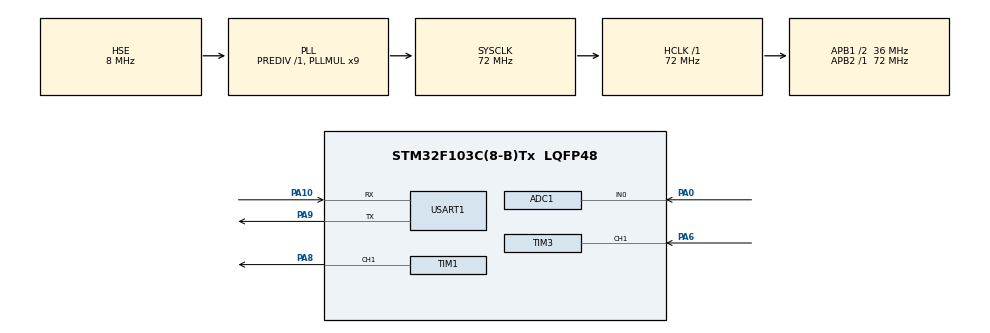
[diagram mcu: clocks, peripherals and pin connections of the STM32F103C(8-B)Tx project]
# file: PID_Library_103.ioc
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ADC1.Channel-0\#ChannelRegularConversion=ADC_CHANNEL_0
ADC1.ContinuousConvMode=ENABLE
ADC1.NbrOfConversionFlag=1
ADC1.Rank-0\#ChannelRegularConversion=1
ADC1.SamplingTime-0\#ChannelRegularConversion=ADC_SAMPLETIME_1CYCLE_5
ADC1.master=1
Dma.ADC1.0.Direction=DMA_PERIPH_TO_MEMORY
Dma.ADC1.0.Instance=DMA1_Channel1
Dma.ADC1.0.MemDataAlignment=DMA_MDATAALIGN_HALFWORD
Dma.ADC1.0.MemInc=DMA_MINC_ENABLE
Dma.ADC1.0.Mode=DMA_CIRCULAR
Dma.ADC1.0.PeriphDataAlignment=DMA_PDATAALIGN_HALFWORD
Dma.ADC1.0.PeriphInc=DMA_PINC_DISABLE
Dma.ADC1.0.Priority=DMA_PRIORITY_LOW
Dma.Request0=ADC1
Dma.Request1=TIM1_CH1
Dma.TIM1_CH1.1.Direction=DMA_MEMORY_TO_PERIPH
Dma.TIM1_CH1.1.Instance=DMA1_Channel2
Dma.TIM1_CH1.1.MemDataAlignment=DMA_MDATAALIGN_HALFWORD
Dma.TIM1_CH1.1.MemInc=DMA_MINC_ENABLE
Dma.TIM1_CH1.1.Mode=DMA_CIRCULAR
Dma.TIM1_CH1.1.PeriphDataAlignment=DMA_PDATAALIGN_HALFWORD
Dma.TIM1_CH1.1.PeriphInc=DMA_PINC_DISABLE
Dma.TIM1_CH1.1.Priority=DMA_PRIORITY_LOW
FREERTOS.Tasks01=defaultTask,0,256,StartDefaultTask,Default,NULL,Static,defaultTaskBuffer,defaultTaskControlBlock;my_PWM_Task,0,256,Start_PWM_Task,Default,NULL,Static,my_PWM_TaskBuffer,my_PWM_TaskControlBlock;my_ADC_Task,0,256,Start_ADC_Task,Default,NULL,Static,my_ADC_TaskBuffer,my_ADC_TaskControlBlock
FREERTOS.configUSE_NEWLIB_REENTRANT=1
Mcu.Family=STM32F1
Mcu.Name=STM32F103C(8-B)Tx
Mcu.Package=LQFP48
NVIC.DMA1_Channel1_IRQn=true\:5\:0\:false\:false\:true\:true\:false\:true\:true
NVIC.DMA1_Channel2_IRQn=true\:5\:0\:false\:false\:true\:true\:false\:true\:true
NVIC.PriorityGroup=NVIC_PRIORITYGROUP_4
NVIC.TIM3_IRQn=true\:5\:0\:false\:false\:true\:true\:true\:true\:true
NVIC.TIM4_IRQn=true\:15\:0\:false\:false\:true\:false\:false\:true\:true
NVIC.TimeBase=TIM4_IRQn
NVIC.TimeBaseIP=TIM4
PA0-WKUP.Signal=ADCx_IN0
PA10.Mode=Asynchronous
PA10.Signal=USART1_RX
PA13.Mode=Serial_Wire
PA13.Signal=SYS_JTMS-SWDIO
PA14.Mode=Serial_Wire
PA14.Signal=SYS_JTCK-SWCLK
PA6.Signal=S_TIM3_CH1
PA8.Signal=S_TIM1_CH1
PA9.Mode=Asynchronous
PA9.Signal=USART1_TX
PD0-OSC_IN.Mode=HSE-External-Oscillator
PD0-OSC_IN.Signal=RCC_OSC_IN
PD1-OSC_OUT.Mode=HSE-External-Oscillator
PD1-OSC_OUT.Signal=RCC_OSC_OUT
ProjectManager.HeapSize=0x200
ProjectManager.StackSize=0x400
ProjectManager.TargetToolchain=STM32CubeIDE
RCC.ADCPresc=RCC_ADCPCLK2_DIV6
RCC.AHBFreq_Value=72000000
RCC.APB1CLKDivider=RCC_HCLK_DIV2
RCC.APB1Freq_Value=36000000
RCC.APB1TimFreq_Value=72000000
RCC.APB2Freq_Value=72000000
RCC.APB2TimFreq_Value=72000000
RCC.HCLKFreq_Value=72000000
RCC.PLLMUL=RCC_PLL_MUL9
RCC.PLLSourceVirtual=RCC_PLLSOURCE_HSE
RCC.SYSCLKFreq_VALUE=72000000
RCC.SYSCLKSource=RCC_SYSCLKSOURCE_PLLCLK
RCC.USBFreq_Value=72000000
SH.ADCx_IN0.0=ADC1_IN0,IN0
SH.S_TIM1_CH1.0=TIM1_CH1,PWM Generation1 CH1
SH.S_TIM3_CH1.0=TIM3_CH1,Input_Capture1_from_TI1
TIM1.Channel-PWM\ Generation1\ CH1=TIM_CHANNEL_1
TIM1.Period=100-1
TIM1.Prescaler=71-1
TIM3.Channel-Input_Capture1_from_TI1=TIM_CHANNEL_1
TIM3.Prescaler=7199
TIM3.TIM_MasterOutputTrigger=TIM_TRGO_UPDATE
USART1.VirtualMode=VM_ASYNC
VP_FREERTOS_VS_CMSIS_V1.Mode=CMSIS_V1
VP_SYS_VS_tim4.Mode=TIM4
VP_TIM1_VS_ClockSourceINT.Mode=Internal
VP_TIM2_VS_ClockSourceITR.Mode=TriggerSource_ITR2
VP_TIM2_VS_ControllerModeClock.Mode=Clock Mode
board=custom

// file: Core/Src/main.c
/* USER CODE BEGIN Header */
/**
  ******************************************************************************
  * @file           : main.c
  * @brief          : Main program body
  ******************************************************************************
  * @attention
  *
  * Copyright (c) 2023 STMicroelectronics.
  * All rights reserved.
  *
  * This software is licensed under terms that can be found in the LICENSE file
  * in the root directory of this software component.
  * If no LICENSE file comes with this software, it is provided AS-IS.
  *
  ******************************************************************************
  */
/* USER CODE END Header */
#include "main.h"
#include "cmsis_os.h"

/* USER CODE BEGIN Includes */
#include <stdio.h>/* для printf */
#include <string.h>
/************** PWM *******************/
 uint16_t pwmData[1];
/************** ADC *******************/
#define ADC_BUF_LED 100 //4096
uint16_t adc_buf[ADC_BUF_LED];

/************** Tahometr *******************/
volatile uint8_t count = 0;
/************** Map *******************/
int16_t value = 0;     // For function "map" from analogRead(0);
int16_t in_max = 4050; // было 4095
int8_t in_min = 0;     // было 0
unsigned char out_max = 100;
int8_t out_min = 0;
/************** PID *******************/
#include "pid.h"
double setpoint = 50.0;// Желаемое количество оборотов в минуту
double input;   // Текущее количество оборотов в минуту
double output;  // Значение выхода PID-контроллера

double kp = 0.0;  // Коэффициент пропорциональности = 1.0
double ki = 4.74575910231458;  // Коэффициент интегральной составляющей = 0.1
double kd = 0.0;  // Коэффициент дифференциальной составляющей = 0.1

PID_TypeDef Cooler_PID;  // Объект PID-контроллера

/************** PID *******************/
int8_t ticks_per_rev = 2; // Количество тактов кулера в один оборот.
float rpm = 0.0;
/* USER CODE END Includes */

ADC_HandleTypeDef hadc1;
DMA_HandleTypeDef hdma_adc1;

TIM_HandleTypeDef htim1;
TIM_HandleTypeDef htim2;
TIM_HandleTypeDef htim3;
DMA_HandleTypeDef hdma_tim1_ch1;

UART_HandleTypeDef huart1;

osThreadId defaultTaskHandle;
uint32_t defaultTaskBuffer[ 256 ];
osStaticThreadDef_t defaultTaskControlBlock;
osThreadId my_PWM_TaskHandle;
uint32_t my_PWM_TaskBuffer[ 256 ];
osStaticThreadDef_t my_PWM_TaskControlBlock;
osThreadId my_ADC_TaskHandle;
uint32_t my_ADC_TaskBuffer[ 256 ];
osStaticThreadDef_t my_ADC_TaskControlBlock;

void SystemClock_Config(void);
static void MX_GPIO_Init(void);
static void MX_DMA_Init(void);
static void MX_ADC1_Init(void);
static void MX_TIM1_Init(void);
static void MX_TIM2_Init(void);
static void MX_TIM3_Init(void);
static void MX_USART1_UART_Init(void);
void StartDefaultTask(void const * argument);
void Start_PWM_Task(void const * argument);
void Start_ADC_Task(void const * argument);

/* USER CODE BEGIN PFP */
int _write(int file, char *ptr, int len) {
	int i;
	HAL_UART_Transmit(&huart1, (uint8_t*) ptr, len, 50);
	for (i = 0; i < len; i++) {
		ITM_SendChar(*ptr++);
	}
	return len;
}
/* USER CODE END PFP */

/* USER CODE BEGIN 0 */
/************** Медианный фильтр *******************/
float median(float newVal)
{
    static float buf[3];
    static int count = 0;
    buf[count] = newVal;
    if (++count > 2)
        count = 0;

    float a = buf[0];
    float b = buf[1];
    float c = buf[2];

    float middle;
    if ((a <= b) && (a <= c))
    {
        middle = (b <= c) ? b : c;
    }
    else
    {
        if ((b <= a) && (b <= c))
        {
            middle = (a <= c) ? a : c;
        }
        else
        {
            middle = (a <= b) ? a : b;
        }
    }
    return middle;
}
/* USER CODE END 0 */

int main(void)
{

  /* MCU Configuration--------------------------------------------------------*/

  /* Reset of all peripherals, Initializes the Flash interface and the Systick. */
  HAL_Init();

  /* Configure the system clock */
  SystemClock_Config();

  /* Initialize all configured peripherals */
  MX_GPIO_Init();
  MX_DMA_Init();
  MX_ADC1_Init();
  MX_TIM1_Init();
  MX_TIM2_Init();
  MX_TIM3_Init();
  MX_USART1_UART_Init();
  /* USER CODE BEGIN 2 */
  /************** Frequencymeter *******************/
   HAL_TIM_IC_Start_IT(&htim3, TIM_CHANNEL_1);
  /* USER CODE END 2 */

  /* Create the thread(s) */
  /* definition and creation of defaultTask */
  osThreadStaticDef(defaultTask, StartDefaultTask, osPriorityNormal, 0, 256, defaultTaskBuffer, &defaultTaskControlBlock);
  defaultTaskHandle = osThreadCreate(osThread(defaultTask), NULL);

  /* definition and creation of my_PWM_Task */
  osThreadStaticDef(my_PWM_Task, Start_PWM_Task, osPriorityNormal, 0, 256, my_PWM_TaskBuffer, &my_PWM_TaskControlBlock);
  my_PWM_TaskHandle = osThreadCreate(osThread(my_PWM_Task), NULL);

  /* definition and creation of my_ADC_Task */
  osThreadStaticDef(my_ADC_Task, Start_ADC_Task, osPriorityNormal, 0, 256, my_ADC_TaskBuffer, &my_ADC_TaskControlBlock);
  my_ADC_TaskHandle = osThreadCreate(osThread(my_ADC_Task), NULL);

  /* Start scheduler */
  osKernelStart();
  /* We should never get here as control is now taken by the scheduler */
  /* Infinite loop */
  while (1)
  {

  }
}

void SystemClock_Config(void)
{
  RCC_OscInitTypeDef RCC_OscInitStruct = {0};
  RCC_ClkInitTypeDef RCC_ClkInitStruct = {0};
  RCC_PeriphCLKInitTypeDef PeriphClkInit = {0};

  /** Initializes the RCC Oscillators according to the specified parameters
  * in the RCC_OscInitTypeDef structure.
  */
  RCC_OscInitStruct.OscillatorType = RCC_OSCILLATORTYPE_HSE;
  RCC_OscInitStruct.HSEState = RCC_HSE_ON;
  RCC_OscInitStruct.HSEPredivValue = RCC_HSE_PREDIV_DIV1;
  RCC_OscInitStruct.HSIState = RCC_HSI_ON;
  RCC_OscInitStruct.PLL.PLLState = RCC_PLL_ON;
  RCC_OscInitStruct.PLL.PLLSource = RCC_PLLSOURCE_HSE;
  RCC_OscInitStruct.PLL.PLLMUL = RCC_PLL_MUL9;
  if (HAL_RCC_OscConfig(&RCC_OscInitStruct) != HAL_OK)
  {
    Error_Handler();
  }

  /** Initializes the CPU, AHB and APB buses clocks
  */
  RCC_ClkInitStruct.ClockType = RCC_CLOCKTYPE_HCLK|RCC_CLOCKTYPE_SYSCLK
                              |RCC_CLOCKTYPE_PCLK1|RCC_CLOCKTYPE_PCLK2;
  RCC_ClkInitStruct.SYSCLKSource = RCC_SYSCLKSOURCE_PLLCLK;
  RCC_ClkInitStruct.AHBCLKDivider = RCC_SYSCLK_DIV1;
  RCC_ClkInitStruct.APB1CLKDivider = RCC_HCLK_DIV2;
  RCC_ClkInitStruct.APB2CLKDivider = RCC_HCLK_DIV1;

  if (HAL_RCC_ClockConfig(&RCC_ClkInitStruct, FLASH_LATENCY_2) != HAL_OK)
  {
    Error_Handler();
  }
  PeriphClkInit.PeriphClockSelection = RCC_PERIPHCLK_ADC;
  PeriphClkInit.AdcClockSelection = RCC_ADCPCLK2_DIV6;
  if (HAL_RCCEx_PeriphCLKConfig(&PeriphClkInit) != HAL_OK)
  {
    Error_Handler();
  }
}

static void MX_ADC1_Init(void)
{

  ADC_ChannelConfTypeDef sConfig = {0};

  /** Common config
  */
  hadc1.Instance = ADC1;
  hadc1.Init.ScanConvMode = ADC_SCAN_DISABLE;
  hadc1.Init.ContinuousConvMode = ENABLE;
  hadc1.Init.DiscontinuousConvMode = DISABLE;
  hadc1.Init.ExternalTrigConv = ADC_SOFTWARE_START;
  hadc1.Init.DataAlign = ADC_DATAALIGN_RIGHT;
  hadc1.Init.NbrOfConversion = 1;
  if (HAL_ADC_Init(&hadc1) != HAL_OK)
  {
    Error_Handler();
  }

  /** Configure Regular Channel
  */
  sConfig.Channel = ADC_CHANNEL_0;
  sConfig.Rank = ADC_REGULAR_RANK_1;
  sConfig.SamplingTime = ADC_SAMPLETIME_1CYCLE_5;
  if (HAL_ADC_ConfigChannel(&hadc1, &sConfig) != HAL_OK)
  {
    Error_Handler();
  }

}

static void MX_TIM1_Init(void)
{

  TIM_ClockConfigTypeDef sClockSourceConfig = {0};
  TIM_MasterConfigTypeDef sMasterConfig = {0};
  TIM_OC_InitTypeDef sConfigOC = {0};
  TIM_BreakDeadTimeConfigTypeDef sBreakDeadTimeConfig = {0};

  htim1.Instance = TIM1;
  htim1.Init.Prescaler = 71-1;
  htim1.Init.CounterMode = TIM_COUNTERMODE_UP;
  htim1.Init.Period = 100-1;
  htim1.Init.ClockDivision = TIM_CLOCKDIVISION_DIV1;
  htim1.Init.RepetitionCounter = 0;
  htim1.Init.AutoReloadPreload = TIM_AUTORELOAD_PRELOAD_DISABLE;
  if (HAL_TIM_Base_Init(&htim1) != HAL_OK)
  {
    Error_Handler();
  }
  sClockSourceConfig.ClockSource = TIM_CLOCKSOURCE_INTERNAL;
  if (HAL_TIM_ConfigClockSource(&htim1, &sClockSourceConfig) != HAL_OK)
  {
    Error_Handler();
  }
  if (HAL_TIM_PWM_Init(&htim1) != HAL_OK)
  {
    Error_Handler();
  }
  sMasterConfig.MasterOutputTrigger = TIM_TRGO_RESET;
  sMasterConfig.MasterSlaveMode = TIM_MASTERSLAVEMODE_DISABLE;
  if (HAL_TIMEx_MasterConfigSynchronization(&htim1, &sMasterConfig) != HAL_OK)
  {
    Error_Handler();
  }
  sConfigOC.OCMode = TIM_OCMODE_PWM1;
  sConfigOC.Pulse = 0;
  sConfigOC.OCPolarity = TIM_OCPOLARITY_HIGH;
  sConfigOC.OCNPolarity = TIM_OCNPOLARITY_HIGH;
  sConfigOC.OCFastMode = TIM_OCFAST_DISABLE;
  sConfigOC.OCIdleState = TIM_OCIDLESTATE_RESET;
  sConfigOC.OCNIdleState = TIM_OCNIDLESTATE_RESET;
  if (HAL_TIM_PWM_ConfigChannel(&htim1, &sConfigOC, TIM_CHANNEL_1) != HAL_OK)
  {
    Error_Handler();
  }
  sBreakDeadTimeConfig.OffStateRunMode = TIM_OSSR_DISABLE;
  sBreakDeadTimeConfig.OffStateIDLEMode = TIM_OSSI_DISABLE;
  sBreakDeadTimeConfig.LockLevel = TIM_LOCKLEVEL_OFF;
  sBreakDeadTimeConfig.DeadTime = 0;
  sBreakDeadTimeConfig.BreakState = TIM_BREAK_DISABLE;
  sBreakDeadTimeConfig.BreakPolarity = TIM_BREAKPOLARITY_HIGH;
  sBreakDeadTimeConfig.AutomaticOutput = TIM_AUTOMATICOUTPUT_DISABLE;
  if (HAL_TIMEx_ConfigBreakDeadTime(&htim1, &sBreakDeadTimeConfig) != HAL_OK)
  {
    Error_Handler();
  }
  HAL_TIM_MspPostInit(&htim1);

}

static void MX_TIM2_Init(void)
{

  TIM_SlaveConfigTypeDef sSlaveConfig = {0};
  TIM_MasterConfigTypeDef sMasterConfig = {0};

  htim2.Instance = TIM2;
  htim2.Init.Prescaler = 0;
  htim2.Init.CounterMode = TIM_COUNTERMODE_UP;
  htim2.Init.Period = 65535;
  htim2.Init.ClockDivision = TIM_CLOCKDIVISION_DIV1;
  htim2.Init.AutoReloadPreload = TIM_AUTORELOAD_PRELOAD_DISABLE;
  if (HAL_TIM_Base_Init(&htim2) != HAL_OK)
  {
    Error_Handler();
  }
  sSlaveConfig.SlaveMode = TIM_SLAVEMODE_EXTERNAL1;
  sSlaveConfig.InputTrigger = TIM_TS_ITR2;
  if (HAL_TIM_SlaveConfigSynchro(&htim2, &sSlaveConfig) != HAL_OK)
  {
    Error_Handler();
  }
  sMasterConfig.MasterOutputTrigger = TIM_TRGO_RESET;
  sMasterConfig.MasterSlaveMode = TIM_MASTERSLAVEMODE_DISABLE;
  if (HAL_TIMEx_MasterConfigSynchronization(&htim2, &sMasterConfig) != HAL_OK)
  {
    Error_Handler();
  }

}

static void MX_TIM3_Init(void)
{

  TIM_MasterConfigTypeDef sMasterConfig = {0};
  TIM_IC_InitTypeDef sConfigIC = {0};

  htim3.Instance = TIM3;
  htim3.Init.Prescaler = 7199;
  htim3.Init.CounterMode = TIM_COUNTERMODE_UP;
  htim3.Init.Period = 65535;
  htim3.Init.ClockDivision = TIM_CLOCKDIVISION_DIV1;
  htim3.Init.AutoReloadPreload = TIM_AUTORELOAD_PRELOAD_DISABLE;
  if (HAL_TIM_IC_Init(&htim3) != HAL_OK)
  {
    Error_Handler();
  }
  sMasterConfig.MasterOutputTrigger = TIM_TRGO_UPDATE;
  sMasterConfig.MasterSlaveMode = TIM_MASTERSLAVEMODE_DISABLE;
  if (HAL_TIMEx_MasterConfigSynchronization(&htim3, &sMasterConfig) != HAL_OK)
  {
    Error_Handler();
  }
  sConfigIC.ICPolarity = TIM_INPUTCHANNELPOLARITY_RISING;
  sConfigIC.ICSelection = TIM_ICSELECTION_DIRECTTI;
  sConfigIC.ICPrescaler = TIM_ICPSC_DIV1;
  sConfigIC.ICFilter = 0;
  if (HAL_TIM_IC_ConfigChannel(&htim3, &sConfigIC, TIM_CHANNEL_1) != HAL_OK)
  {
    Error_Handler();
  }

}

static void MX_USART1_UART_Init(void)
{

  huart1.Instance = USART1;
  huart1.Init.BaudRate = 115200;
  huart1.Init.WordLength = UART_WORDLENGTH_8B;
  huart1.Init.StopBits = UART_STOPBITS_1;
  huart1.Init.Parity = UART_PARITY_NONE;
  huart1.Init.Mode = UART_MODE_TX_RX;
  huart1.Init.HwFlowCtl = UART_HWCONTROL_NONE;
  huart1.Init.OverSampling = UART_OVERSAMPLING_16;
  if (HAL_UART_Init(&huart1) != HAL_OK)
  {
    Error_Handler();
  }

}

static void MX_DMA_Init(void)
{

  /* DMA controller clock enable */
  __HAL_RCC_DMA1_CLK_ENABLE();

  /* DMA interrupt init */
  /* DMA1_Channel1_IRQn interrupt configuration */
  HAL_NVIC_SetPriority(DMA1_Channel1_IRQn, 5, 0);
  HAL_NVIC_EnableIRQ(DMA1_Channel1_IRQn);
  /* DMA1_Channel2_IRQn interrupt configuration */
  HAL_NVIC_SetPriority(DMA1_Channel2_IRQn, 5, 0);
  HAL_NVIC_EnableIRQ(DMA1_Channel2_IRQn);

}

static void MX_GPIO_Init(void)
{

  /* GPIO Ports Clock Enable */
  __HAL_RCC_GPIOD_CLK_ENABLE();
  __HAL_RCC_GPIOA_CLK_ENABLE();

}

/* USER CODE BEGIN 4 */
/************** LOW frequencymeter *******************/
void HAL_TIM_IC_CaptureCallback(TIM_HandleTypeDef *htim)
{
	if(htim == &htim3)
	{
		if(htim->Channel == HAL_TIM_ACTIVE_CHANNEL_1)
		{
			count++;

			if(count == 1)
			{
				__HAL_TIM_SET_COUNTER(&htim3, 0x0000);
				__HAL_TIM_SET_COUNTER(&htim2, 0x0000);
			}

			else if(count == 2)
			{
				HAL_TIM_IC_Stop_IT(&htim3, TIM_CHANNEL_1);

				count = 0;

				uint16_t count_main = HAL_TIM_ReadCapturedValue(&htim3, TIM_CHANNEL_1);
				uint16_t count_secondary = __HAL_TIM_GET_COUNTER(&htim2);
				uint16_t arr = __HAL_TIM_GET_AUTORELOAD(&htim2);
				uint32_t res = count_main + (count_secondary * arr) + count_secondary;

				float freq = 1 / (res / 1000000.0);

				char str[96] = {0,};
				////snprintf(str, 96, "Capture Freq: %.3f Hz | res: %lu | cm: %d | cs: %d\n", (float)freq, res, count_main, count_secondary);
				//snprintf(str, 96, "Capture Freq: %.3f Hz\n", (float)freq);
				//HAL_UART_Transmit(&huart1, (uint8_t*)str, strlen(str), 1000);

				rpm = (float)freq / (ticks_per_rev * 60.0);
				//printf("RPM of cooler = %.3f rpm per minut! \r\n",rpm);//From 0 up to 134,409.

				HAL_TIM_IC_Start_IT(&htim3, TIM_CHANNEL_1);
			}
		}
	}
}
/* USER CODE END 4 */

void StartDefaultTask(void const * argument)
{
  /* USER CODE BEGIN 5 */
	HAL_TIM_IC_Start_IT(&htim3, TIM_CHANNEL_1);
	/************** PID *******************/
	  PID(&Cooler_PID, &input, &output, &setpoint, kp, ki, kd, _PID_P_ON_E, _PID_CD_DIRECT);  // Создаем объект PID-контроллера
	  PID_SetMode(&Cooler_PID, _PID_MODE_AUTOMATIC);  // Инициализируем объект PID-контроллера
	  PID_SetSampleTime(&Cooler_PID, 1);  // Устанавливаем время дискретизации в 1 ms. Также следует учитывать, что уменьшение времени дискретизации может привести к увеличению шума
	  PID_SetOutputLimits(&Cooler_PID, 0, 100);  // Устанавливаем лимиты на выходное значение
  /* Infinite loop */
  for(;;)
  {
	    // Считываем текущее количество оборотов в минуту
	    input = rpm;  // Замените ... на код для считывания текущего значения оборотов в минуту

	    // Обновляем значение выхода PID-контроллера
	    PID_Compute(&Cooler_PID);

	    // Устанавливаем скорость мотора с помощью выхода PID-контроллера
	    int16_t value = (int16_t)output;  // Преобразуем значение выхода PID-контроллера в целое число
	    pwmData[0] = value;
	    HAL_TIM_PWM_Start_DMA(&htim1, TIM_CHANNEL_1, (uint32_t *)pwmData, 1);
	    printf("Output = %.d \r\n",pwmData[0]);
    //osDelay(1);
  }
  /* USER CODE END 5 */
}

void Start_PWM_Task(void const * argument)
{
  /* USER CODE BEGIN Start_PWM_Task */
	/************** PWM *******************/
	  pwmData[0] = 70;
  /* Infinite loop */
  for(;;)
  {
	  //	value = (adc_buf[0] - in_min) * (out_max - out_min) / (in_max - in_min) + out_min; // Function map
	  //	pwmData[0] = value;
	  //	HAL_TIM_PWM_Start_DMA(&htim1, TIM_CHANNEL_1, (uint32_t *)pwmData, 1);
	  	//printf("pwmData[0] = %d\r\n",pwmData[0]);
    osDelay(1);
  }
  /* USER CODE END Start_PWM_Task */
}

void Start_ADC_Task(void const *argument) {
	/* USER CODE BEGIN Start_ADC_Task */
	HAL_ADC_Start_DMA(&hadc1, (uint32_t*) adc_buf, ADC_BUF_LED);

	/************** Map *******************/
	int16_t map(int16_t x, int16_t in_min, int16_t in_max, int16_t out_min, int16_t out_max) {
		return (x - in_min) * (out_max - out_min) / (in_max - in_min) + out_min;
	}
	/* Infinite loop */
	for (;;) {
		//printf("adc_buf = %u\r\n",(unsigned int)adc_buf[0]);
		setpoint = map(adc_buf[0], 0, 4050, 0, 100);
		osDelay(1);
	}
	/* USER CODE END Start_ADC_Task */
}

void HAL_TIM_PeriodElapsedCallback(TIM_HandleTypeDef *htim)
{
  if (htim->Instance == TIM4) {
    HAL_IncTick();
  }
}

void Error_Handler(void)
{
  __disable_irq();
  while (1)
  {
  }
}
